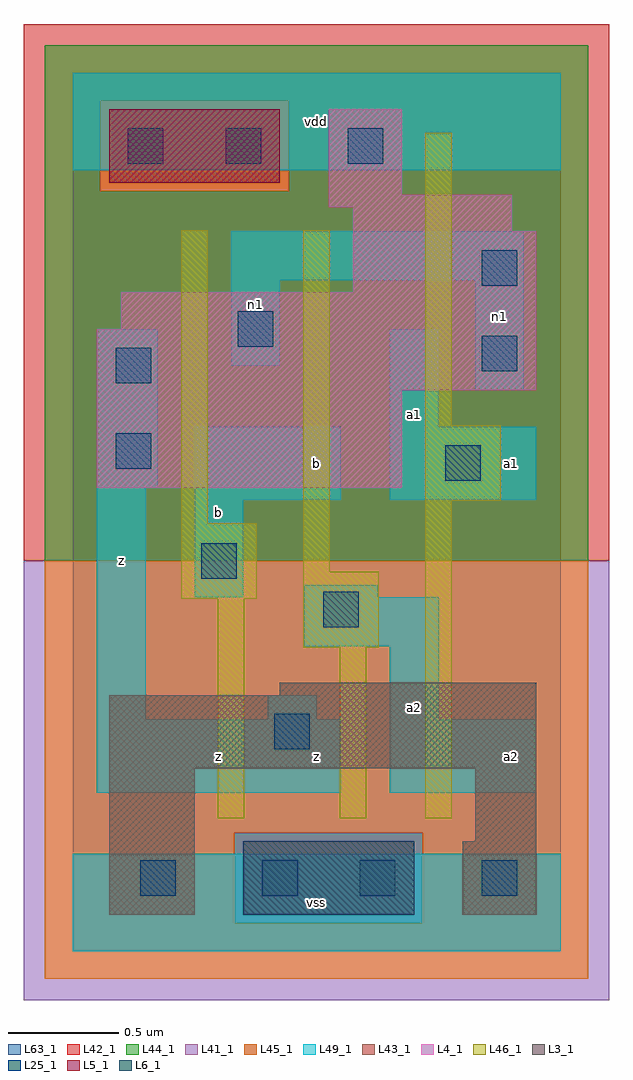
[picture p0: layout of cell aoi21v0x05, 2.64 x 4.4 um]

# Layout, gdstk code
import gdstk
lib = gdstk.Library(unit=1e-6, precision=1e-09)
def R(c, l, rs):  # rectangles x0, y0, x1, y1
    for r in rs: c.add(gdstk.rectangle(r[:2], r[2:], *l))
L3_1 = (3, 1)
L4_1 = (4, 1)
L5_1 = (5, 1)
L6_1 = (6, 1)
L25_1 = (25, 1)
L41_1 = (41, 1)
L42_1 = (42, 1)
L43_1 = (43, 1)
L44_1 = (44, 1)
L45_1 = (45, 1)
L46_1 = (46, 1)
L49_1 = (49, 1)
L63_1 = (63, 1)

aoi21v0x05 = lib.new_cell('aoi21v0x05')
R(aoi21v0x05, L3_1, [(0.165,0.165,0.55,0.825), (1.76,0.165,2.09,0.495), (1.815,0.495,2.09,0.825), (0.165,0.825,2.09,1.155), (0.935,1.155,2.09,1.21)])
R(aoi21v0x05, L4_1, [(0.11,2.09,1.485,2.53), (0.11,2.53,2.09,2.805), (0.22,2.805,2.09,2.97), (1.265,2.97,2.09,3.245), (1.265,3.245,1.98,3.355), (1.155,3.355,1.98,3.41), (1.155,3.41,1.485,3.795)])
R(aoi21v0x05, L5_1, [(0.165,3.465,0.935,3.795)])
R(aoi21v0x05, L6_1, [(0.77,0.165,1.54,0.495)])
R(aoi21v0x05, L25_1, [(0.305,0.25,0.465,0.41), (0.855,0.25,1.015,0.41), (1.295,0.25,1.455,0.41), (1.845,0.25,2.005,0.41), (0.91,0.91,1.07,1.07), (1.13,1.46,1.29,1.62), (0.58,1.68,0.74,1.84), (1.68,2.12,1.84,2.28), (0.195,2.175,0.355,2.335), (0.195,2.56,0.355,2.72), (1.845,2.615,2.005,2.775), (0.745,2.725,0.905,2.885), (1.845,3,2.005,3.16), (0.25,3.55,0.41,3.71), (0.69,3.55,0.85,3.71), (1.24,3.55,1.4,3.71)])
R(aoi21v0x05, L41_1, [(-0.22,-0.22,2.42,1.76)])
R(aoi21v0x05, L42_1, [(-0.22,1.76,2.42,4.18)])
R(aoi21v0x05, L43_1, [(0.165,0.165,0.55,0.825), (0.77,0.165,1.54,0.495), (1.76,0.165,2.09,0.495), (1.815,0.495,2.09,0.825), (0.165,0.825,2.09,1.155), (0.935,1.155,2.09,1.21), (0.11,2.09,1.485,2.53), (0.11,2.53,2.09,2.805), (0.22,2.805,2.09,2.97), (1.265,2.97,2.09,3.245), (1.265,3.245,1.98,3.355), (1.155,3.355,1.98,3.41), (1.155,3.41,1.485,3.795), (0.165,3.465,0.935,3.795)])
R(aoi21v0x05, L44_1, [(0.73,0.125,1.58,0.535), (-0.125,1.76,2.325,3.425), (-0.125,3.425,0.125,3.835), (0.975,3.425,2.325,3.835), (-0.125,3.835,2.325,4.085)])
R(aoi21v0x05, L45_1, [(-0.125,-0.125,2.325,0.125), (-0.125,0.125,0.73,0.535), (1.58,0.125,2.325,0.535), (-0.125,0.535,2.325,1.76), (0.125,3.425,0.975,3.835)])
R(aoi21v0x05, L46_1, [(0.655,0.6,0.775,1.59), (1.205,0.6,1.325,1.37), (1.59,0.6,1.71,2.03), (1.04,1.37,1.38,1.71), (0.49,1.59,0.83,1.93), (1.04,1.71,1.16,3.25), (0.49,1.93,0.61,3.25), (1.59,2.03,1.93,2.37), (1.59,2.37,1.71,3.69)])
R(aoi21v0x05, L49_1, [(0,0,2.2,0.44), (0.11,0.715,1.21,1.045), (1.43,0.715,2.09,1.045), (0.11,1.045,0.33,2.09), (0.88,1.045,1.1,1.155), (1.43,1.045,1.65,1.375), (1.045,1.375,1.65,1.595), (0.55,1.595,0.77,2.035), (1.045,1.595,1.375,1.65), (0.55,2.035,1.21,2.365), (1.43,2.035,2.09,2.365), (0.11,2.09,0.385,2.805), (1.43,2.365,1.65,2.805), (1.815,2.53,2.035,3.025), (0.715,2.64,0.935,3.025), (0.715,3.025,2.035,3.245), (0,3.52,2.2,3.96)])
R(aoi21v0x05, L63_1, [(0,0,2.2,3.96)])
aoi21v0x05.add(gdstk.Label('z', (0.22,1.76), layer=49, texttype=1))
aoi21v0x05.add(gdstk.Label('z', (0.66,0.88), layer=49, texttype=1))
aoi21v0x05.add(gdstk.Label('b', (0.66,1.98), layer=49, texttype=1))
aoi21v0x05.add(gdstk.Label('n1', (0.825,2.915), layer=49, texttype=1))
aoi21v0x05.add(gdstk.Label('vss', (1.1,0.22), layer=49, texttype=1))
aoi21v0x05.add(gdstk.Label('a2', (1.54,1.1), layer=49, texttype=1))
aoi21v0x05.add(gdstk.Label('z', (1.1,0.88), layer=49, texttype=1))
aoi21v0x05.add(gdstk.Label('b', (1.1,2.2), layer=49, texttype=1))
aoi21v0x05.add(gdstk.Label('a1', (1.54,2.42), layer=49, texttype=1))
aoi21v0x05.add(gdstk.Label('vdd', (1.1,3.74), layer=49, texttype=1))
aoi21v0x05.add(gdstk.Label('a2', (1.98,0.88), layer=49, texttype=1))
aoi21v0x05.add(gdstk.Label('a1', (1.98,2.2), layer=49, texttype=1))
aoi21v0x05.add(gdstk.Label('n1', (1.925,2.86), layer=49, texttype=1))

lib.write_gds('aoi21v0x05.gds')
